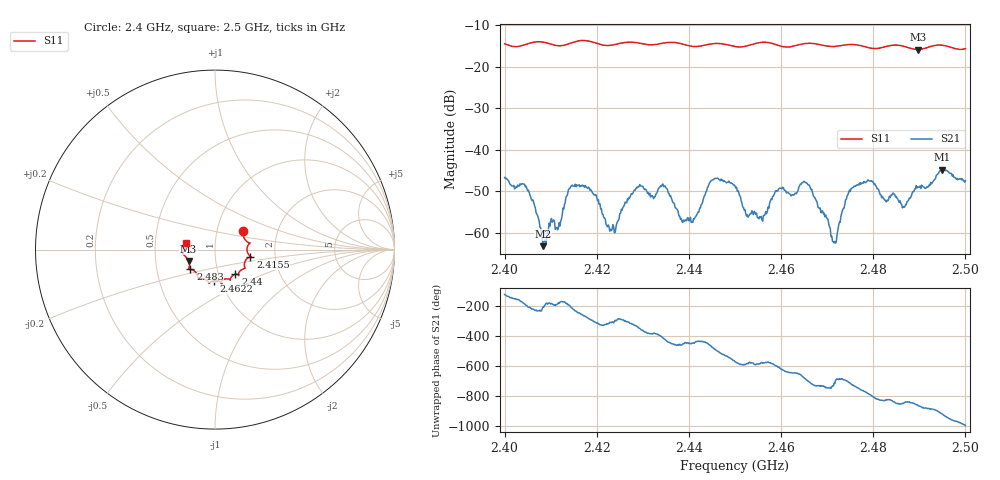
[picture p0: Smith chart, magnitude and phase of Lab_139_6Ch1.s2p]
# Hz S RI R 50
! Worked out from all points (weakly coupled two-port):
!   601 points, 2.4 GHz to 2.5 GHz, reference 50 ohm
!   highest |S21| = -44.72 dB at 2.495 GHz (marker M1); lowest = -63.1 dB at 2.4083 GHz (marker M2)
!   lowest |S11| = -15.9 dB at 2.4897 GHz (marker M3), VSWR 1.38, Z = 36.9 - j4.82 ohm
!   |S11| at or under -10 dB: start of sweep to end of sweep
!   S12 and S22 are empty: the file has one direction only
!   S11 on the Smith chart (normalised r, x): 2.4 GHz: 1.33, +0.29; 2.4155 GHz: 1.49, -0.12; 2.44 GHz: 1.20, -0.34; 2.4622 GHz: 0.93, -0.33; 2.483 GHz: 0.74, -0.17; 2.5 GHz: 0.72, +0.06
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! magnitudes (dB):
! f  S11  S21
! 2.4 GHz  -14.5  -46.6
! 2.4048 GHz  -14.6  -49.3
! 2.4083 GHz  -14.1  -63.1
! 2.4155 GHz  -13.9  -48.9
! 2.4167 GHz  -13.7  -48.7
! 2.4235 GHz  -14.8  -58.0
! 2.4288 GHz  -14.3  -49.1
! 2.4333 GHz  -14.6  -49.3
! 2.44 GHz  -15.0  -57.1
! 2.4452 GHz  -14.5  -47.2
! 2.45 GHz  -15.1  -48.7
! 2.4555 GHz  -14.2  -56.3
! 2.4593 GHz  -14.9  -49.8
! 2.4622 GHz  -15.2  -51.1
! 2.4667 GHz  -14.4  -49.5
! 2.4715 GHz  -15.1  -62.4
! 2.4757 GHz  -14.7  -49.1
! 2.483 GHz  -15.1  -52.1
! 2.4833 GHz  -15.0  -51.9
! 2.4897 GHz  -15.9  -48.9
! 2.495 GHz  -14.8  -44.7
! 2.5 GHz  -15.7  -47.5
